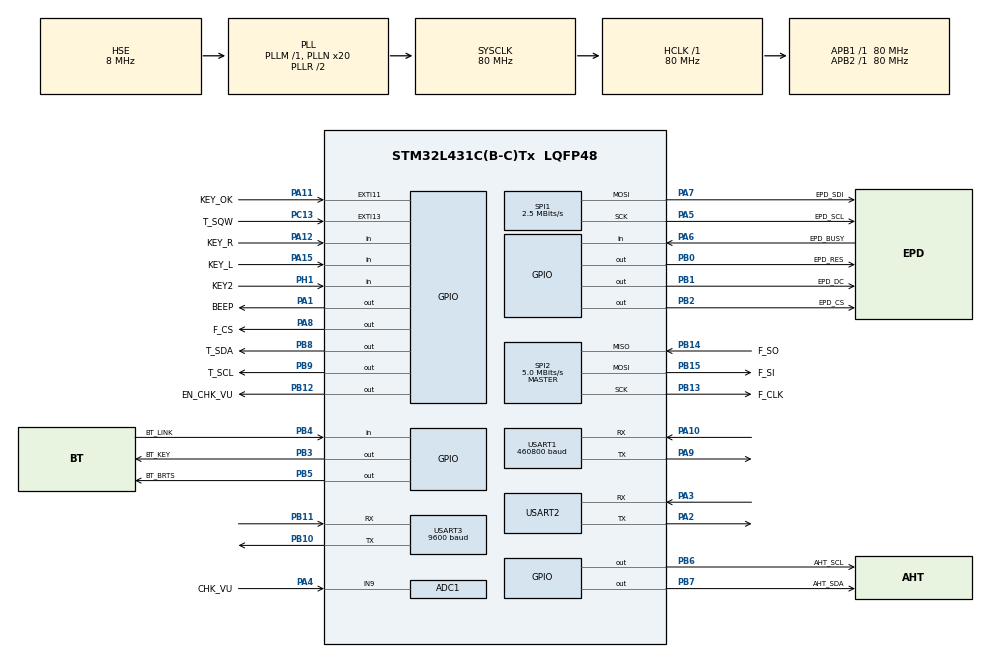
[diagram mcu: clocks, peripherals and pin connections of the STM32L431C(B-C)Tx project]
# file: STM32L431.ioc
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ADC1.Channel-1\#ChannelRegularConversion=ADC_CHANNEL_9
ADC1.NbrOfConversionFlag=1
ADC1.OffsetNumber-1\#ChannelRegularConversion=ADC_OFFSET_NONE
ADC1.Rank-1\#ChannelRegularConversion=1
ADC1.SamplingTime-1\#ChannelRegularConversion=ADC_SAMPLETIME_12CYCLES_5
ADC1.master=1
Dma.Request0=USART1_RX
Dma.Request1=USART1_TX
Dma.USART1_RX.0.Direction=DMA_PERIPH_TO_MEMORY
Dma.USART1_RX.0.Instance=DMA1_Channel5
Dma.USART1_RX.0.MemDataAlignment=DMA_MDATAALIGN_BYTE
Dma.USART1_RX.0.MemInc=DMA_MINC_ENABLE
Dma.USART1_RX.0.Mode=DMA_CIRCULAR
Dma.USART1_RX.0.PeriphDataAlignment=DMA_PDATAALIGN_BYTE
Dma.USART1_RX.0.PeriphInc=DMA_PINC_DISABLE
Dma.USART1_RX.0.Priority=DMA_PRIORITY_LOW
Dma.USART1_TX.1.Direction=DMA_MEMORY_TO_PERIPH
Dma.USART1_TX.1.Instance=DMA1_Channel4
Dma.USART1_TX.1.MemDataAlignment=DMA_MDATAALIGN_BYTE
Dma.USART1_TX.1.MemInc=DMA_MINC_ENABLE
Dma.USART1_TX.1.Mode=DMA_NORMAL
Dma.USART1_TX.1.PeriphDataAlignment=DMA_PDATAALIGN_BYTE
Dma.USART1_TX.1.PeriphInc=DMA_PINC_DISABLE
Dma.USART1_TX.1.Priority=DMA_PRIORITY_LOW
FREERTOS.Tasks01=defaultTask,0,128,StartDefaultTask,Default,NULL,Dynamic,NULL,NULL
FREERTOS.configMAX_PRIORITIES=16
FREERTOS.configTOTAL_HEAP_SIZE=15360
FREERTOS.configUSE_TICKLESS_IDLE=1
Mcu.Family=STM32L4
Mcu.Name=STM32L431C(B-C)Tx
Mcu.Package=LQFP48
NVIC.DMA1_Channel4_IRQn=true\:9\:0\:true\:false\:true\:true\:false\:true\:true
NVIC.DMA1_Channel5_IRQn=true\:9\:0\:true\:false\:true\:true\:false\:true\:true
NVIC.EXTI15_10_IRQn=true\:9\:0\:true\:false\:true\:true\:true\:true\:true
NVIC.PriorityGroup=NVIC_PRIORITYGROUP_4
NVIC.TIM1_UP_TIM16_IRQn=true\:15\:0\:false\:false\:true\:false\:false\:true\:true
NVIC.TimeBase=TIM1_UP_TIM16_IRQn
NVIC.TimeBaseIP=TIM1
NVIC.USART1_IRQn=true\:7\:0\:true\:false\:true\:true\:true\:true\:true
NVIC.USART2_IRQn=true\:7\:0\:true\:false\:true\:true\:true\:true\:true
PA0.GPIO_Label=KEY_WKUP
PA0.Mode=SYS_WakeUp0
PA0.Signal=SYS_WKUP1
PA1.GPIO_Label=BEEP
PA1.GPIO_ModeDefaultOutputPP=GPIO_MODE_OUTPUT_PP
PA1.GPIO_PuPd=GPIO_PULLUP
PA1.GPIO_Speed=GPIO_SPEED_FREQ_HIGH
PA1.PinState=GPIO_PIN_RESET
PA1.Signal=GPIO_Output
PA10.Mode=Asynchronous
PA10.Signal=USART1_RX
PA11.GPIO_Label=KEY_OK
PA11.GPIO_PuPd=GPIO_PULLUP
PA11.Signal=GPXTI11
PA12.GPIO_Label=KEY_R
PA12.GPIO_PuPd=GPIO_PULLUP
PA12.Signal=GPIO_Input
PA13\ (JTMS-SWDIO).Mode=Serial_Wire
PA13\ (JTMS-SWDIO).Signal=SYS_JTMS-SWDIO
PA14\ (JTCK-SWCLK).Mode=Serial_Wire
PA14\ (JTCK-SWCLK).Signal=SYS_JTCK-SWCLK
PA15\ (JTDI).GPIO_Label=KEY_L
PA15\ (JTDI).GPIO_PuPd=GPIO_PULLUP
PA15\ (JTDI).Signal=GPIO_Input
PA2.Mode=Asynchronous
PA2.Signal=USART2_TX
PA3.Mode=Asynchronous
PA3.Signal=USART2_RX
PA4.GPIO_Label=CHK_VU
PA4.Signal=ADCx_IN9
PA5.GPIO_Label=EPD_SCL
PA5.Mode=TX_Only_Simplex_Unidirect_Master
PA5.Signal=SPI1_SCK
PA6.GPIO_Label=EPD_BUSY
PA6.GPIO_PuPd=GPIO_PULLDOWN
PA6.Signal=GPIO_Input
PA7.GPIO_Label=EPD_SDI
PA7.Mode=TX_Only_Simplex_Unidirect_Master
PA7.Signal=SPI1_MOSI
PA8.GPIO_Label=F_CS
PA8.GPIO_Speed=GPIO_SPEED_FREQ_HIGH
PA8.Signal=GPIO_Output
PA9.Mode=Asynchronous
PA9.Signal=USART1_TX
PB0.GPIO_Label=EPD_RES
PB0.GPIO_Speed=GPIO_SPEED_FREQ_HIGH
PB0.PinState=GPIO_PIN_RESET
PB0.Signal=GPIO_Output
PB1.GPIO_Label=EPD_DC
PB1.GPIO_Speed=GPIO_SPEED_FREQ_HIGH
PB1.Signal=GPIO_Output
PB10.Mode=Asynchronous
PB10.Signal=USART3_TX
PB11.Mode=Asynchronous
PB11.Signal=USART3_RX
PB12.GPIO_Label=EN_CHK_VU
PB12.GPIO_Speed=GPIO_SPEED_FREQ_HIGH
PB12.Signal=GPIO_Output
PB13.GPIO_Label=F_CLK
PB13.Mode=Full_Duplex_Master
PB13.Signal=SPI2_SCK
PB14.GPIO_Label=F_SO
PB14.Mode=Full_Duplex_Master
PB14.Signal=SPI2_MISO
PB15.GPIO_Label=F_SI
PB15.Mode=Full_Duplex_Master
PB15.Signal=SPI2_MOSI
PB2.GPIO_Label=EPD_CS
PB2.GPIO_Speed=GPIO_SPEED_FREQ_HIGH
PB2.Signal=GPIO_Output
PB3\ (JTDO-TRACESWO).GPIO_Label=BT_KEY
PB3\ (JTDO-TRACESWO).GPIO_ModeDefaultOutputPP=GPIO_MODE_OUTPUT_PP
PB3\ (JTDO-TRACESWO).GPIO_PuPd=GPIO_PULLUP
PB3\ (JTDO-TRACESWO).GPIO_Speed=GPIO_SPEED_FREQ_LOW
PB3\ (JTDO-TRACESWO).PinState=GPIO_PIN_SET
PB3\ (JTDO-TRACESWO).Signal=GPIO_Output
PB4\ (NJTRST).GPIO_Label=BT_LINK
PB4\ (NJTRST).Signal=GPIO_Input
PB5.GPIO_Label=BT_BRTS
PB5.GPIO_PuPd=GPIO_PULLUP
PB5.GPIO_Speed=GPIO_SPEED_FREQ_LOW
PB5.PinState=GPIO_PIN_SET
PB5.Signal=GPIO_Output
PB6.GPIO_Label=AHT_SCL
PB6.GPIO_Speed=GPIO_SPEED_FREQ_HIGH
PB6.Signal=GPIO_Output
PB7.GPIO_Label=AHT_SDA
PB7.GPIO_Speed=GPIO_SPEED_FREQ_HIGH
PB7.Signal=GPIO_Output
PB8.GPIO_Label=T_SDA
PB8.GPIO_ModeDefaultOutputPP=GPIO_MODE_OUTPUT_OD
PB8.GPIO_PuPd=GPIO_PULLUP
PB8.GPIO_Speed=GPIO_SPEED_FREQ_HIGH
PB8.Signal=GPIO_Output
PB9.GPIO_Label=T_SCL
PB9.GPIO_ModeDefaultOutputPP=GPIO_MODE_OUTPUT_OD
PB9.GPIO_PuPd=GPIO_PULLUP
PB9.GPIO_Speed=GPIO_SPEED_FREQ_HIGH
PB9.Signal=GPIO_Output
PC13.GPIO_Label=T_SQW
PC13.GPIO_PuPd=GPIO_PULLUP
PC13.Signal=GPXTI13
PC14-OSC32_IN\ (PC14).Mode=LSE-External-Oscillator
PC14-OSC32_IN\ (PC14).Signal=RCC_OSC32_IN
PC15-OSC32_OUT\ (PC15).Mode=LSE-External-Oscillator
PC15-OSC32_OUT\ (PC15).Signal=RCC_OSC32_OUT
PH0-OSC_IN\ (PH0).Mode=HSE-External-Clock-Source
PH0-OSC_IN\ (PH0).Signal=RCC_OSC_IN
PH1-OSC_OUT\ (PH1).GPIO_Label=KEY2
PH1-OSC_OUT\ (PH1).Signal=GPIO_Input
ProjectManager.HeapSize=0x400
ProjectManager.StackSize=0x800
ProjectManager.TargetToolchain=MDK-ARM V5.32
RCC.ADCFreq_Value=80000000
RCC.AHBFreq_Value=80000000
RCC.APB1Freq_Value=80000000
RCC.APB1TimFreq_Value=80000000
RCC.APB2Freq_Value=80000000
RCC.APB2TimFreq_Value=80000000
RCC.CortexFreq_Value=80000000
RCC.HCLKFreq_Value=80000000
RCC.HSE_VALUE=8000000
RCC.HSI48_VALUE=48000000
RCC.HSI_VALUE=16000000
RCC.MSI_VALUE=4000000
RCC.PLLN=20
RCC.PLLSAI1N=20
RCC.PLLSourceVirtual=RCC_PLLSOURCE_HSE
RCC.SYSCLKFreq_VALUE=80000000
RCC.SYSCLKSource=RCC_SYSCLKSOURCE_PLLCLK
RCC.VCOOutputFreq_Value=160000000
SH.ADCx_IN9.0=ADC1_IN9,IN9-Single-Ended
SPI1.BaudRatePrescaler=SPI_BAUDRATEPRESCALER_32
SPI1.CalculateBaudRate=2.5 MBits/s
SPI1.DataSize=SPI_DATASIZE_8BIT
SPI1.Direction=SPI_DIRECTION_2LINES
SPI1.Mode=SPI_MODE_MASTER
SPI1.NSSPMode=SPI_NSS_PULSE_ENABLE
SPI1.VirtualType=VM_MASTER
SPI2.BaudRatePrescaler=SPI_BAUDRATEPRESCALER_16
SPI2.CLKPhase=SPI_PHASE_1EDGE
SPI2.CalculateBaudRate=5.0 MBits/s
SPI2.DataSize=SPI_DATASIZE_8BIT
SPI2.Direction=SPI_DIRECTION_2LINES
SPI2.Mode=SPI_MODE_MASTER
SPI2.VirtualType=VM_MASTER
USART1.BaudRate=460800
USART1.VirtualMode-Asynchronous=VM_ASYNC
USART2.VirtualMode-Asynchronous=VM_ASYNC
USART3.BaudRate=9600
USART3.VirtualMode-Asynchronous=VM_ASYNC
VP_FREERTOS_VS_CMSIS_V1.Mode=CMSIS_V1
VP_RTC_VS_RTC_Activate.Mode=RTC_Enabled
VP_SYS_VS_tim1.Mode=TIM1
board=custom

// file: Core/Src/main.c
/* USER CODE BEGIN Header */
/**
  ******************************************************************************
  * @file           : main.c
  * @brief          : Main program body
  ******************************************************************************
  * @attention
  *
  * Copyright (c) 2025 STMicroelectronics.
  * All rights reserved.
  *
  * This software is licensed under terms that can be found in the LICENSE file
  * in the root directory of this software component.
  * If no LICENSE file comes with this software, it is provided AS-IS.
  *
  ******************************************************************************
  */
/* USER CODE END Header */
#include "main.h"
#include "cmsis_os.h"
#include "adc.h"
#include "dma.h"
#include "rtc.h"
#include "spi.h"
#include "usart.h"
#include "gpio.h"

/* USER CODE BEGIN Includes */
#include "SystemInfo.h"
#include "pwr_from.h"
#include "ATcmd.h"
#include "aht20.h"
#include "ds3231.h"
#include "w25qxx.h"
#include "DEV_Config.h"
#include "EPD_Command.h"
#include "GUI_Paint.h"
#include "Button.h"
#include "test.h"
#include "gbkfont.h"
#include "calendar.h"
/* USER CODE END Includes */

/* USER CODE BEGIN PTD */
TaskHandle_t StartTask_Handler;
void start_task(void *pvParameters);

const unsigned char gImage_1[2850] = {
	0x00, 0x00, 0x67, 0xf7, 0xff, 0x3f, 0xf7, 0xf8, 0x00, 0x00, 0x00, 0x00, 0x00, 0x00, 0x00, 0x00,
	0x03, 0xff, 0x3c, 0x00, 0x00, 0x0f, 0xf3, 0xff, 0xbf, 0xf7, 0xf8, 0x00, 0x00, 0x00, 0x00, 0x00,
	0x00, 0x00, 0x00, 0x01, 0xff, 0x3c, 0x00, 0x00, 0x0f, 0xf9, 0xff, 0x9f, 0xf7, 0xf0, 0x3f, 0xce,
	0x00, 0x00, 0x00, 0x00, 0x00, 0x00, 0x01, 0xff, 0x3c, 0x00, 0x00, 0x0f, 0xfd, 0xff, 0x9f, 0xf7,
	0xf1, 0xfb, 0xfd, 0xe0, 0x00, 0x00, 0x00, 0x00, 0x80, 0x01, 0xff, 0x3c, 0x00, 0x00, 0x07, 0xfc,
	0xff, 0xcf, 0xf7, 0xf7, 0xff, 0xfe, 0x98, 0x00, 0x00, 0x00, 0x00, 0x80, 0x01, 0xff, 0xbc, 0x00,
	0x00, 0x03, 0xfe, 0x7f, 0xcf, 0xf7, 0xff, 0xff, 0xff, 0x40, 0x00, 0x00, 0x00, 0x00, 0x80, 0x01,
	0xff, 0x9c, 0x00, 0x00, 0x01, 0xff, 0x3f, 0xe7, 0xf7, 0xff, 0xde, 0xff, 0x70, 0x00, 0x00, 0x00,
	0x00, 0x00, 0x00, 0xff, 0x9c, 0x00, 0x00, 0x00, 0xff, 0xbf, 0xe7, 0xf7, 0xff, 0xbf, 0xff, 0xba,
	0x00, 0x00, 0x00, 0x00, 0x00, 0x00, 0xff, 0x80, 0x00, 0x00, 0x00, 0xff, 0x9f, 0xf0, 0x03, 0xff,
	0x7f, 0xff, 0xdf, 0x00, 0x00, 0x00, 0x00, 0x00, 0x00, 0xfc, 0x1c, 0x00, 0x00, 0x00, 0x7f, 0xcf,
	0xc0, 0x77, 0xfe, 0xff, 0xff, 0xff, 0x80, 0x00, 0x00, 0x00, 0x40, 0x00, 0xe1, 0x9c, 0x00, 0x00,
	0x00, 0xbf, 0xe7, 0x0b, 0xff, 0xff, 0xff, 0xff, 0xfe, 0xc0, 0x00, 0x00, 0x00, 0x40, 0x00, 0x8f,
	0xcc, 0x00, 0x00, 0x00, 0x5f, 0xf6, 0x39, 0xff, 0xff, 0xff, 0xff, 0xff, 0x60, 0x00, 0x00, 0x00,
	0x40, 0x00, 0x3f, 0xcc, 0x00, 0x00, 0x00, 0x0f, 0xf0, 0x79, 0xff, 0xff, 0xff, 0xff, 0xff, 0xe1,
	0x00, 0x00, 0x00, 0x00, 0x00, 0x7f, 0xc0, 0x00, 0x00, 0x00, 0x07, 0xf1, 0xfc, 0xff, 0xff, 0xff,
	0xff, 0xff, 0xb0, 0x00, 0x00, 0x00, 0x00, 0x00, 0x7e, 0x00, 0x00, 0x00, 0x00, 0x03, 0xe4, 0xfe,
	0xff, 0xff, 0xff, 0xff, 0xff, 0xf8, 0x40, 0x00, 0x00, 0x00, 0x00, 0x78, 0x00, 0x00, 0x00, 0x00,
	0x01, 0xe6, 0x7c, 0xff, 0xff, 0xff, 0xff, 0xff, 0xf8, 0x20, 0x00, 0x00, 0x00, 0x00, 0x40, 0x00,
	0x00, 0x00, 0x00, 0x00, 0xcf, 0x31, 0xff, 0xff, 0xff, 0xff, 0xff, 0xfc, 0x00, 0x00, 0x00, 0x20,
	0x00, 0x00, 0x00, 0x00, 0x00, 0x00, 0x00, 0x5f, 0x8f, 0xff, 0xff, 0xff, 0xff, 0xff, 0xfc, 0x00,
	0x00, 0x00, 0x00, 0x00, 0x00, 0x00, 0x00, 0x00, 0x00, 0x00, 0x3f, 0x3f, 0xff, 0xff, 0xff, 0xff,
	0xff, 0xfe, 0x00, 0x00, 0x00, 0x00, 0x00, 0x00, 0x00, 0x00, 0x00, 0x00, 0x00, 0x1e, 0x7f, 0xff,
	0xff, 0xff, 0xff, 0xff, 0xfe, 0x04, 0x00, 0x00, 0x00, 0x00, 0x00, 0x00, 0x00, 0x00, 0x00, 0x00,
	0x0c, 0xff, 0xff, 0xff, 0xff, 0xff, 0xff, 0xff, 0x00, 0x00, 0x00, 0x00, 0x00, 0x00, 0x00, 0x00,
	0x00, 0x00, 0x00, 0x00, 0xcf, 0xff, 0xff, 0xff, 0xff, 0xff, 0xff, 0x02, 0x00, 0x00, 0x00, 0x00,
	0x00, 0x00, 0x00, 0x00, 0x00, 0x00, 0x00, 0x0f, 0xff, 0xbf, 0xff, 0xff, 0xfe, 0xff, 0x80, 0x00,
	0x00, 0x00, 0x00, 0x00, 0x00, 0x00, 0x00, 0x00, 0x00, 0x00, 0x0e, 0xff, 0xff, 0xfb, 0xff, 0xfe,
	0xff, 0x81, 0x00, 0x00, 0x00, 0x00, 0x00, 0x20, 0x00, 0x00, 0x00, 0x00, 0x00, 0x1f, 0xff, 0xff,
	0xfb, 0xff, 0xfe, 0xff, 0xc0, 0x00, 0x00, 0x00, 0x00, 0x00, 0xe4, 0x00, 0x00, 0x00, 0x00, 0x00,
	0x1f, 0xff, 0xff, 0x73, 0xff, 0xfe, 0xff, 0xc0, 0x80, 0x00, 0x00, 0x00, 0x00, 0x1c, 0x00, 0x80,
	0x00, 0x00, 0x00, 0x1f, 0xff, 0xff, 0x73, 0xff, 0xfe, 0xfd, 0xe0, 0x00, 0x00, 0x00, 0x00, 0x00,
	0xf8, 0x00, 0x80, 0x00, 0x00, 0x00, 0x3f, 0xff, 0x7f, 0x73, 0xfd, 0xfe, 0xfd, 0xe0, 0x40, 0x00,
	0x00, 0x10, 0x00, 0x00, 0x00, 0x80, 0x00, 0x00, 0x00, 0x3f, 0xff, 0x7e, 0x65, 0xfd, 0xf6, 0x7f,
	0xe0, 0x40, 0x00, 0x00, 0x38, 0x00, 0x00, 0x00, 0x80, 0x00, 0x00, 0x00, 0x3f, 0xff, 0x7e, 0x67,
	0xfd, 0xf6, 0x7e, 0xf0, 0x20, 0x00, 0x00, 0xfc, 0x00, 0x00, 0x00, 0x80, 0x00, 0x00, 0x00, 0x3f,
	0xff, 0xfd, 0x01, 0xff, 0xfe, 0xef, 0xf0, 0x20, 0x00, 0x01, 0xec, 0x00, 0x00, 0x00, 0x80, 0x00,
	0x00, 0x00, 0x3f, 0xff, 0xe9, 0x7c, 0xff, 0xf8, 0x2f, 0xf0, 0x10, 0x00, 0x27, 0xba, 0x00, 0x00,
	0x00, 0x00, 0x00, 0x00, 0x00, 0x7f, 0xff, 0xe3, 0xce, 0xfe, 0xf1, 0x8e, 0xf0, 0x10, 0x00, 0x3f,
	0xfe, 0x00, 0x00, 0x00, 0x00, 0x00, 0x00, 0x00, 0x7d, 0xff, 0xdb, 0x9e, 0xdf, 0xf1, 0xc6, 0xd8,
	0x00, 0x00, 0x39, 0xff, 0x00, 0x00, 0x00, 0x00, 0x00, 0x00, 0x00, 0x7d, 0xff, 0xd7, 0x9f, 0x5e,
	0xe1, 0xc2, 0xd8, 0x08, 0x00, 0x3b, 0xf7, 0x00, 0x00, 0x00, 0x00, 0x00, 0x00, 0x00, 0x7d, 0xfe,
	0xc7, 0x9f, 0x5e, 0xe1, 0xc0, 0xd8, 0x08, 0x00, 0x3f, 0xfd, 0x80, 0x00, 0x00, 0x00, 0x00, 0x00,
	0x00, 0x7d, 0xfe, 0xce, 0x0f, 0x4f, 0x63, 0xea, 0xf8, 0x00, 0x00, 0x3f, 0xff, 0xc0, 0x00, 0x00,
	0x00, 0x00, 0x00, 0x00, 0x7d, 0xff, 0xd8, 0x03, 0x9f, 0x62, 0x7c, 0x78, 0x04, 0x00, 0x3f, 0xef,
	0xc0, 0x00, 0x00, 0x00, 0x00, 0x00, 0x00, 0x7f, 0xff, 0xc0, 0x01, 0xd7, 0x50, 0x04, 0x78, 0x00,
	0x00, 0x3f, 0xfa, 0xe0, 0x00, 0x00, 0x00, 0x00, 0x00, 0x00, 0xfe, 0xff, 0xc0, 0x0c, 0xdb, 0x50,
	0x06, 0x7c, 0x02, 0x00, 0x3f, 0xff, 0xe0, 0x00, 0x00, 0x00, 0x00, 0x00, 0x00, 0xfe, 0xff, 0xc0,
	0x07, 0xef, 0x28, 0x03, 0x78, 0x02, 0x00, 0x3f, 0xff, 0xc0, 0x00, 0x00, 0x00, 0x00, 0x00, 0x00,
	0xfe, 0xff, 0x80, 0x07, 0xed, 0xb0, 0x11, 0x7c, 0x00, 0x00, 0x3f, 0xff, 0xc0, 0x00, 0x00, 0x00,
	0x00, 0x00, 0x00, 0xfe, 0xff, 0xd0, 0x07, 0xfe, 0xf0, 0x08, 0x7c, 0x01, 0x00, 0x7f, 0xdf, 0xc0,
	0x00, 0x00, 0x00, 0x00, 0x00, 0x00, 0xfe, 0xfe, 0xf0, 0x0f, 0xff, 0x70, 0x08, 0xdc, 0x00, 0x00,
	0x7f, 0x5f, 0x80, 0x00, 0x00, 0x00, 0x00, 0x00, 0x01, 0xfe, 0x7e, 0xf8, 0x27, 0xff, 0xf0, 0x1b,
	0xd8, 0x00, 0x00, 0x7f, 0x9f, 0x80, 0x00, 0x00, 0x00, 0x00, 0x00, 0x01, 0xfe, 0x1c, 0x7a, 0xf7,
	0xff, 0xfe, 0x9a, 0xd8, 0x00, 0x80, 0x3f, 0xff, 0x00, 0x00, 0x00, 0x00, 0x00, 0x00, 0x03, 0xfe,
	0x08, 0xff, 0xe7, 0xff, 0xfb, 0xbe, 0xd0, 0x00, 0x00, 0x3f, 0xff, 0x00, 0x00, 0x00, 0x00, 0x00,
	0x00, 0x03, 0xfe, 0x43, 0x7e, 0x6f, 0xff, 0xfb, 0xbf, 0x30, 0x00, 0x00, 0x3f, 0xfe, 0x00, 0x00,
	0x00, 0x00, 0x00, 0x00, 0x03, 0xfe, 0x01, 0xff, 0xff, 0xff, 0xfe, 0x7c, 0x20, 0x00, 0x00, 0x3f,
	0xfe, 0x00, 0x00, 0x00, 0x00, 0x00, 0x00, 0x05, 0xfe, 0x0c, 0x6f, 0xff, 0xff, 0xff, 0xfc, 0x00,
	0x00, 0x00, 0xff, 0xfc, 0x00, 0x00, 0x00, 0x00, 0x00, 0x00, 0x05, 0xfe, 0x1f, 0x2f, 0xff, 0xff,
	0xff, 0xf8, 0x00, 0x00, 0x40, 0xff, 0xfc, 0x00, 0x00, 0x00, 0x00, 0x00, 0x00, 0x05, 0xfe, 0x3f,
	0xb3, 0xff, 0xff, 0xff, 0xf8, 0x20, 0x00, 0x21, 0xbf, 0xf8, 0x00, 0x00, 0x00, 0x00, 0x00, 0x00,
	0x05, 0xfe, 0x3f, 0x9d, 0xff, 0xff, 0xff, 0xf8, 0x12, 0x00, 0x03, 0xbf, 0xf8, 0x00, 0x00, 0x80,
	0x00, 0x00, 0x00, 0x00, 0xfe, 0x3f, 0x9b, 0xff, 0xe3, 0xff, 0xf8, 0x0b, 0x20, 0x03, 0x9f, 0xf0,
	0x00, 0x00, 0xf0, 0x00, 0x00, 0x00, 0x00, 0xfe, 0x0f, 0x0d, 0xff, 0x00, 0x7f, 0xf0, 0x03, 0x00,
	0x27, 0x9f, 0xf0, 0x00, 0x00, 0xfe, 0x00, 0x00, 0x00, 0x00, 0xfe, 0x02, 0x6a, 0xfe, 0x04, 0x1f,
	0xf0, 0x07, 0x90, 0x27, 0x9f, 0xf0, 0x00, 0x00, 0xff, 0xc0, 0x00, 0x00, 0x01, 0xfc, 0x30, 0x74,
	0x3f, 0x00, 0x3f, 0xf0, 0x03, 0x10, 0x17, 0xbf, 0xe0, 0x00, 0x04, 0xff, 0xf8, 0x00, 0x00, 0x01,
	0xfc, 0x18, 0x13, 0xff, 0x00, 0x3f, 0xf0, 0x01, 0x90, 0xb7, 0xbf, 0xe0, 0x04, 0x0c, 0xbf, 0xfe,
	0x00, 0x00, 0x03, 0xfc, 0x11, 0x87, 0xff, 0x80, 0x7f, 0xe0, 0x01, 0x98, 0x97, 0xbf, 0xe0, 0x00,
	0x18, 0x0f, 0xff, 0xc0, 0x00, 0x03, 0xfc, 0x03, 0xe4, 0xff, 0x80, 0x7f, 0xc0, 0x01, 0x88, 0x87,
	0xbf, 0xe0, 0x40, 0x18, 0x03, 0xff, 0xf8, 0x00, 0x03, 0xf8, 0x07, 0xf6, 0xff, 0xe1, 0xff, 0xc0,
	0x00, 0x0c, 0x8f, 0xbf, 0xe0, 0x40, 0x0c, 0x00, 0xff, 0xfe, 0x00, 0x03, 0xf8, 0x07, 0xf3, 0x7f,
	0xff, 0xff, 0x00, 0x80, 0x84, 0xc7, 0xbf, 0xe0, 0x20, 0x0c, 0x00, 0x3f, 0xff, 0xe0, 0x03, 0xf8,
	0x0f, 0xfb, 0x1f, 0xff, 0xfe, 0x03, 0xf8, 0xc6, 0xc7, 0xdf, 0xe0, 0x12, 0x0c, 0x00, 0x1f, 0xff,
	0x84, 0x02, 0xf8, 0x0f, 0xf9, 0x8f, 0xff, 0xf8, 0x0c, 0xfd, 0x46, 0x47, 0xdf, 0xe0, 0x02, 0x0c,
	0x00, 0x0f, 0xff, 0xf0, 0x87, 0xf8, 0x07, 0xf8, 0x83, 0xff, 0xe0, 0x1f, 0x7c, 0x43, 0x47, 0xdf,
	0xe0, 0x0a, 0x0c, 0x00, 0x07, 0xff, 0xe0, 0x01, 0xf8, 0x05, 0xe0, 0x80, 0xff, 0x80, 0x7f, 0xdc,
	0x43, 0x47, 0xdf, 0xe0, 0x04, 0x00, 0x00, 0x02, 0xff, 0xe0, 0x01, 0xd0, 0x02, 0xe0, 0x02, 0x1e,
	0x00, 0xff, 0xfc, 0x02, 0x87, 0xef, 0xe0, 0x0e, 0x70, 0x00, 0x01, 0xbf, 0xe0, 0x03, 0xd0, 0x00,
	0x60, 0x00, 0x00, 0x03, 0xff, 0xe8, 0x13, 0xf7, 0xff, 0xe0, 0x03, 0xe0, 0x00, 0x00, 0xff, 0xe0,
	0x03, 0xf0, 0x00, 0x40, 0x00, 0x00, 0x0b, 0xff, 0xe4, 0x31, 0xb7, 0xf7, 0xe0, 0x07, 0xc0, 0x00,
	0x00, 0xfb, 0xc0, 0x03, 0xf0, 0x00, 0x00, 0x00, 0x00, 0x17, 0xff, 0xc0, 0x64, 0xd7, 0xf7, 0xe0,
	0x03, 0x80, 0x00, 0x00, 0x7f, 0x60, 0x67, 0xf0, 0x00, 0x00, 0x05, 0x00, 0x27, 0xff, 0x81, 0xbc,
	0x67, 0xfb, 0xf0, 0x01, 0x00, 0x00, 0x00, 0x3f, 0x80, 0xe7, 0xf0, 0x00, 0x00, 0x44, 0x00, 0x5f,
	0xff, 0xa3, 0x80, 0x77, 0xfd, 0xb0, 0x02, 0x80, 0x00, 0x00, 0x1b, 0xc0, 0xe7, 0xf0, 0x00, 0x00,
	0x00, 0x00, 0x9f, 0xfe, 0x67, 0xff, 0x87, 0xfd, 0xd0, 0x01, 0x80, 0x00, 0x00, 0x0d, 0xc0, 0xf7,
	0xe0, 0x00, 0x00, 0x00, 0x00, 0xdf, 0xfe, 0xdf, 0xfe, 0x1f, 0xfe, 0xd0, 0x00, 0x00, 0x00, 0x00,
	0x06, 0x66, 0xff, 0xe0, 0x00, 0x04, 0x00, 0x00, 0xbf, 0xfc, 0xbf, 0xf8, 0xff, 0xff, 0xf0, 0x00,
	0x40, 0x00, 0x00, 0x07, 0x2e, 0xdb, 0xc0, 0x00, 0x08, 0x00, 0x03, 0xff, 0xf3, 0xbf, 0xf3, 0xfb,
	0xff, 0x50, 0x00, 0x80, 0x00, 0x00, 0x03, 0x9f, 0xef, 0xc0, 0x00, 0x00, 0x00, 0x1b, 0xff, 0xe7,
	0x7f, 0xcf, 0xfb, 0xff, 0x08, 0x00, 0x00, 0x00, 0x00, 0x01, 0xbf, 0xb1, 0x80, 0x00, 0x00, 0x1d,
	0x17, 0xff, 0xef, 0x6f, 0xff, 0xfb, 0xff, 0x80, 0x00, 0x40, 0x00, 0x00, 0x00, 0xff, 0xb3, 0x00,
	0x00, 0x00, 0x3f, 0xbf, 0xff, 0xfc, 0xff, 0xff, 0xfb, 0xff, 0xc0, 0x00, 0x40, 0x00, 0x00, 0x00,
	0xff, 0xf3, 0x00, 0x04, 0x26, 0x3e, 0xff, 0xff, 0x9b, 0xff, 0xff, 0xfb, 0xff, 0xc0, 0x00, 0x00,
	0x00, 0x00, 0x01, 0xf7, 0xb6, 0x00, 0x04, 0xcf, 0x7f, 0x5f, 0xff, 0x67, 0xff, 0xff, 0xfb, 0xff,
	0xe0, 0x00, 0x20, 0x00, 0x00, 0x01, 0xbe, 0xbe, 0x00, 0x0e, 0xcf, 0x7f, 0x3f, 0xfe, 0xcf, 0xff,
	0xff, 0xff, 0xff, 0xe0, 0x00, 0x00, 0x00, 0x00, 0x01, 0xdb, 0xbe, 0x00, 0x1f, 0x9f, 0x3f, 0xff,
	0x83, 0xdf, 0xff, 0xff, 0xff, 0xff, 0xf0, 0x00, 0x10, 0x00, 0x00, 0x01, 0xef, 0xbc, 0x00, 0x2f,
	0xbb, 0x7f, 0x7f, 0xff, 0x7f, 0xff, 0xff, 0xff, 0xff, 0xf0, 0x00, 0x10, 0x00, 0x00, 0x00, 0xf4,
	0xfc, 0x00, 0x3f, 0xfb, 0x7e, 0xff, 0xd1, 0xff, 0xff, 0xff, 0xff, 0xff, 0xf0, 0x00, 0x00, 0x00,
	0x00, 0x00, 0xff, 0xff, 0x00, 0x7f, 0xfb, 0x7f, 0xfd, 0xbf, 0xff, 0xff, 0xff, 0xfe, 0xff, 0xf8,
	0x00, 0x08, 0x00, 0x00, 0x00, 0xff, 0xfd, 0x80, 0x7f, 0xf3, 0x7d, 0xff, 0xff, 0xff, 0xff, 0xff,
	0xfe, 0xff, 0xfc, 0x00, 0x00, 0x00, 0x00, 0x00, 0xff, 0xfd, 0xc0, 0xff, 0xf7, 0xfb, 0xff, 0xff,
	0xff, 0xff, 0xff, 0xf6, 0xff, 0xfe, 0x00, 0x08, 0x00, 0x00, 0x00, 0xff, 0xfb, 0xc0, 0xeb, 0xe6,
	0xfb, 0xff, 0xff, 0xff, 0xff, 0xfb, 0xf6, 0x7f, 0xff, 0x00, 0x08, 0x00, 0x00, 0x00, 0x7e, 0xf7,
	0xe0, 0xff, 0xc5, 0xf7, 0xff, 0xdf, 0xff, 0xff, 0xf7, 0xf6, 0x7f, 0xff, 0x80, 0x08, 0x00, 0x00,
	0x00, 0x7e, 0xf7, 0xf1, 0xff, 0x8d, 0xef, 0xff, 0xff, 0xff, 0xff, 0xff, 0xf6, 0x7f, 0xff, 0x80,
	0x04, 0x00, 0x00, 0x01, 0xfe, 0xf7, 0xb3, 0xef, 0x8f, 0x6f, 0xff, 0xff, 0xff, 0xff, 0xef, 0xf6,
	0x77, 0xff, 0x80, 0x04, 0x00, 0x00, 0x03, 0xff, 0xf7, 0xdb, 0x7f, 0x2f, 0xdf, 0xff, 0xff, 0xff,
	0xdf, 0xd7, 0xf6, 0x3f, 0xff, 0xc0, 0x04, 0x00, 0x00, 0x07, 0xff, 0xe4, 0x2b, 0x7e, 0x5f, 0xdf,
	0xff, 0xff, 0xff, 0xdf, 0xff, 0xfa, 0x3f, 0xff, 0xc0, 0x04, 0x00, 0x00, 0x07, 0xff, 0xe0, 0x93,
	0x5c, 0xff, 0xbf, 0xff, 0xff, 0xff, 0xef, 0xed, 0xf9, 0x1f, 0xff, 0xc0, 0x04, 0x00, 0x00, 0x0f,
	0xff, 0xe0, 0x6b, 0xd9, 0xff, 0xff, 0xff, 0xff, 0xff, 0xe7, 0xfa, 0xfd, 0x0f, 0xff, 0xc0, 0x04,
	0x00, 0x00, 0x1f, 0xdf, 0xe0, 0xe1, 0xbb, 0xff, 0x7f, 0xff, 0xff, 0xff, 0xf2, 0xf0, 0x7f, 0x01,
	0xff, 0xc0, 0x04, 0x00, 0x00, 0x3f, 0xdf, 0xf0, 0xc1, 0xb7, 0xff, 0xff, 0xff, 0xff, 0xff, 0xf1,
	0x68, 0x3e, 0x80, 0xff, 0x80, 0x04, 0x00, 0x00, 0x3f, 0xdf, 0xf1, 0xc4, 0xef, 0xff, 0xff, 0xff,
	0xff, 0xff, 0xf8, 0x84, 0x1e, 0x40, 0x7f, 0x80, 0x04, 0x00, 0x00, 0x7f, 0xdf, 0xf1, 0xc0, 0x4f,
	0xff, 0xff, 0xff, 0xff, 0xff, 0xf8, 0x00, 0x0f, 0x00, 0x1f, 0x80, 0x04, 0x00, 0x00, 0x7f, 0xdf,
	0xf3, 0xc0, 0xdf, 0xfd, 0xff, 0xff, 0xff, 0xf0, 0xf8, 0x00, 0x07, 0x80, 0x0f, 0x80, 0x04, 0x00,
	0x00, 0x7f, 0xdf, 0xf3, 0xa1, 0x9f, 0xff, 0xff, 0xff, 0xff, 0xcd, 0x7c, 0x00, 0x03, 0xc0, 0x07,
	0x80, 0x0c, 0x00, 0x00, 0xff, 0x9f, 0xf3, 0x81, 0xbf, 0xff, 0xff, 0xff, 0xfd, 0x01, 0x38, 0x00,
	0x01, 0xe0, 0x03, 0x80, 0x0c, 0x00, 0x00, 0xff, 0x1f, 0xf7, 0x81, 0xbf, 0xff, 0xff, 0xef, 0xc7,
	0xf8, 0x20, 0x00, 0x00, 0x70, 0x00, 0x00, 0x0c, 0x00, 0x01, 0xde, 0x1f, 0xff, 0x81, 0x3f, 0xff,
	0xff, 0xe6, 0x03, 0xfc, 0x00, 0x00, 0x00, 0x10, 0x00, 0x00, 0x0c, 0x00, 0x01, 0xfe, 0x1f, 0xef,
	0x81, 0x3f, 0xf7, 0xff, 0x01, 0xf8, 0x1f, 0x00, 0x00, 0x00, 0x00, 0x00, 0x00, 0x18, 0x00, 0x01,
	0xfc, 0x1f, 0xef, 0xc1, 0x3f, 0xff, 0xfc, 0x1f, 0xff, 0xc1, 0x80, 0x00, 0x00, 0x00, 0x00, 0x00,
	0x14, 0x00, 0x03, 0xf8, 0x1f, 0xdf, 0xcb, 0x3f, 0xf7, 0xf8, 0xff, 0xff, 0xf0, 0x20, 0x00, 0x00,
	0x00, 0x00, 0x00, 0x2c, 0x00, 0x03, 0xb0, 0x0f, 0xbf, 0xc3, 0x2f, 0xff, 0x00, 0x7f, 0xff, 0xfc,
	0x00, 0x00, 0x00, 0x00, 0x00, 0x00, 0x3c, 0x00, 0x03, 0xb0, 0x0f, 0xbf, 0xc2, 0x1f, 0xfc, 0x1f,
	0xc3, 0xff, 0xfe, 0x00, 0x00, 0x00, 0x00, 0xe0, 0x00, 0x7c, 0x00, 0x03, 0xa0, 0x0f, 0x7f, 0x82,
	0x19, 0xe7, 0x3f, 0xff, 0xff, 0xfd, 0x00, 0x04, 0x00, 0x00, 0x7e, 0x5c, 0x1c, 0x00, 0x03, 0xa0,
	0x0e, 0xff, 0x82, 0x14, 0x1e, 0xff, 0xff, 0xff, 0xfc, 0x00, 0x00, 0x00, 0x00, 0x3f, 0x00, 0xec,
	0x00, 0x03, 0x80, 0x0a, 0xff, 0x02, 0x1e, 0x7d, 0xff, 0xff, 0xff, 0xd6, 0x00, 0x02, 0x00, 0x00,
	0x1f, 0x81, 0xec, 0x00, 0x03, 0x80, 0x09, 0xfb, 0x02, 0x04, 0xeb, 0xff, 0xff, 0xfe, 0xf0, 0x00,
	0x00, 0x00, 0x00, 0x1f, 0xc0, 0xf4, 0x00, 0x03, 0x80, 0x03, 0xfb, 0x23, 0x01, 0x97, 0xe0, 0x7f,
	0xf8, 0x7c, 0x00, 0x01, 0x00, 0x00, 0x0f, 0xc0, 0x78, 0x00, 0x03, 0x80, 0x07, 0xf7, 0x21, 0x03,
	0x6f, 0x9f, 0x0f, 0xf0, 0x00, 0x00, 0x00, 0x80, 0x00, 0x07, 0xe0, 0x7c, 0x00, 0x03, 0x80, 0x0f,
	0xf6, 0x20, 0x84, 0xef, 0x3f, 0xb4, 0x01, 0xff, 0xc0, 0x00, 0x00, 0x00, 0x07, 0xf0, 0x3c, 0x00,
	0x03, 0xc0, 0x1f, 0xe6, 0x00, 0x85, 0xfe, 0xf2, 0x51, 0xf0, 0x00, 0x01, 0x00, 0x40, 0x00, 0x03,
	0xf0, 0x3c, 0x00, 0x01, 0xc0, 0x1f, 0xc6, 0x00, 0x61, 0xf4, 0x03, 0xa3, 0x00, 0xa4, 0x00, 0x00,
	0x00, 0x00, 0x01, 0xf8, 0x1c, 0x00, 0x01, 0xe0, 0x3f, 0x00, 0x00, 0x03, 0xec, 0x04, 0x40, 0x0f,
	0xf0, 0x00, 0x00, 0xa0, 0x00, 0x00, 0xfc, 0x0c, 0x00, 0x01, 0xe0, 0x70, 0x00, 0x00, 0x00, 0x1c,
	0xcc, 0x80, 0xff, 0xd0, 0x00, 0x00, 0x80, 0x00, 0x00, 0xfc, 0x14, 0x00, 0x01, 0xb0, 0xe0, 0x00,
	0x00, 0x07, 0xbc, 0xb9, 0x01, 0xff, 0x70, 0x00, 0x00, 0x00, 0x00, 0x00, 0x7e, 0x1c, 0x00, 0x00,
	0xb1, 0x80, 0x00, 0x00, 0x7f, 0x3c, 0x04, 0x01, 0xff, 0xc0, 0x00, 0x00, 0x40, 0x00, 0x00, 0x3f,
	0x08, 0x00, 0x00, 0xb9, 0x00, 0x00, 0x01, 0x98, 0x14, 0xca, 0x01, 0xff, 0x80, 0x00, 0x00, 0x48,
	0x00, 0x00, 0x3f, 0x0c, 0x00, 0x00, 0x7e, 0x00, 0x00, 0x07, 0xc0, 0x96, 0x1a, 0x01, 0xff, 0xb0,
	0x00, 0x00, 0x40, 0x00, 0x00, 0x1f, 0x04, 0x00, 0x00, 0x7e, 0x00, 0x00, 0x08, 0xe1, 0x40, 0x02,
	0x01, 0xff, 0xe6, 0x00, 0x00, 0x04, 0x00, 0x00, 0x1f, 0x84, 0x00, 0x00, 0x5e, 0x04, 0x00, 0x02,
	0x42, 0x80, 0x00, 0x01, 0xff, 0x60, 0x00, 0x00, 0x44, 0x00, 0x00, 0x0f, 0x84, 0x00, 0x00, 0x57,
	0x02, 0x00, 0x08, 0x00, 0x00, 0x00, 0x03, 0xff, 0xe0, 0x00, 0x00, 0x00, 0x00, 0x00, 0x0f, 0xc0,
	0x00, 0x00, 0x6f, 0x00, 0x00, 0x04, 0x00, 0x01, 0x00, 0x03, 0xbe, 0x07, 0xfc, 0x00, 0x02, 0x00,
	0x00, 0x07, 0xc0, 0x00, 0x08, 0x33, 0xf8, 0x00, 0x00, 0x00, 0x03, 0x00, 0x03, 0xc0, 0x7f, 0xff,
	0x00, 0x00, 0x00, 0x00, 0x07, 0xe0, 0x00, 0x00, 0x7c, 0x00, 0x00, 0x00, 0x08, 0x03, 0x00, 0x06,
	0x0f, 0xff, 0xff, 0x00, 0x00, 0x00, 0x00, 0x03, 0xe0, 0x00, 0x00, 0x7f, 0xf0, 0x00, 0x00, 0x00,
	0x03, 0x22, 0x00, 0x3f, 0xff, 0xff, 0x80, 0x08, 0x00, 0x00, 0x03, 0xf0, 0x00, 0x00, 0xff, 0xfe,
	0x40, 0x04, 0x00, 0x07, 0xa0, 0x03, 0xdf, 0xff, 0xff, 0x80, 0x04, 0x00, 0x00, 0x01, 0xf0, 0x00,
	0x01, 0x7f, 0xfc, 0x00, 0x04, 0x00, 0x07, 0x80, 0x8f, 0xef, 0xff, 0xff, 0x80, 0x00, 0x40, 0x00,
	0x01, 0x10, 0x00, 0x01, 0xff, 0xfc, 0x00, 0x08, 0x00, 0x07, 0x92, 0x3f, 0xe7, 0xff, 0xfc, 0x00,
	0x00, 0x40, 0x00, 0x00, 0xf8, 0x00, 0x03, 0xff, 0xfc, 0x00, 0x08, 0x00, 0x47, 0x10, 0x7f, 0xf7,
	0xff, 0x80, 0x00, 0x00, 0x00, 0x00, 0x00, 0xb8, 0x70, 0x01, 0xff, 0xfa, 0x00, 0x00, 0x00, 0x04,
	0x60, 0x3f, 0xfb, 0xc0, 0x00, 0x00, 0x00, 0x00, 0x00, 0x00, 0x40, 0xe0, 0x03, 0xff, 0xe4, 0x00,
	0x10, 0x00, 0x83, 0xff, 0xbf, 0xf0, 0x1f, 0xff, 0x00, 0x00, 0x00, 0x00, 0x00, 0x40, 0xe0, 0x07,
	0xff, 0xe9, 0x00, 0x10, 0x00, 0x47, 0xff, 0xf7, 0x87, 0xff, 0xfc, 0x40, 0x00, 0x00, 0x00, 0x00,
	0x00, 0xa0, 0x07, 0xff, 0xd2, 0x00, 0x00, 0x00, 0x06, 0xff, 0xfc, 0x1f, 0xff, 0xb9, 0xf0, 0x00,
	0x00, 0x00, 0x00, 0x20, 0xc0, 0x0f, 0xff, 0xf4, 0x00, 0x20, 0x00, 0x05, 0xff, 0xff, 0x9f, 0xbf,
	0xff, 0xf8, 0x00, 0x00, 0x00, 0x00, 0x00, 0xc0, 0x0f, 0xff, 0xb4, 0x00, 0x20, 0x00, 0x03, 0xff,
	0xff, 0xe3, 0xff, 0xff, 0xfc, 0x00, 0x00, 0x00, 0x00, 0x10, 0xc0, 0x1f, 0xff, 0x60, 0x00, 0x00,
	0x00, 0x3b, 0xff, 0xff, 0xfe, 0x7f, 0xff, 0xff, 0x80, 0x00, 0x00, 0x00, 0x08, 0x80, 0x1f, 0xff,
	0x60, 0x00, 0x40, 0x03, 0xff, 0xff, 0xff, 0xff, 0x8f, 0xff, 0xff, 0xc0, 0x00, 0x00, 0x00, 0x08,
	0x80, 0x1f, 0xfe, 0xc0, 0x00, 0x40, 0x0f, 0xf7, 0xff, 0xff, 0xff, 0xf3, 0xff, 0xff, 0xf0, 0x00,
	0x00, 0x00, 0x04, 0x00, 0x3f, 0xfe, 0xa0, 0x00, 0x00, 0x3f, 0xd7, 0xff, 0xff, 0xff, 0xfc, 0xff,
	0xff, 0xf8, 0x00, 0x08, 0x00, 0x04, 0x00, 0x3f, 0xfc, 0x80, 0x00, 0x80, 0x7e, 0xff, 0xff, 0xff,
	0xff, 0xff, 0x7f, 0xff, 0xf8, 0x00, 0x00, 0x00, 0x04, 0x0f, 0xff, 0xfd, 0x00, 0x00, 0x80, 0xf7,
	0xff, 0xff, 0xff, 0xff, 0xff, 0x9f, 0xff, 0xfc, 0x00, 0x00, 0x00, 0x00, 0x0f, 0xff, 0xfc, 0x00,
	0x00, 0x81, 0xef, 0xff, 0xff, 0xff, 0xfd, 0xff, 0xef, 0xff, 0xff, 0x00, 0x00, 0x03, 0x00, 0x0f,
	0xff, 0xfa, 0x00, 0x00, 0x03, 0xbf, 0xff, 0xff, 0xff, 0xfe, 0xff, 0xf3, 0xff, 0xff, 0x80, 0x01,
	0x03, 0x00
};

/* USER CODE END PTD */

void SystemClock_Config(void);
void MX_FREERTOS_Init(void);

int main(void)
{

  /* MCU Configuration--------------------------------------------------------*/

  /* Reset of all peripherals, Initializes the Flash interface and the Systick. */
  HAL_Init();

  /* Configure the system clock */
  SystemClock_Config();

  /* Initialize all configured peripherals */
  MX_GPIO_Init();
  MX_DMA_Init();
  MX_ADC1_Init();
  MX_SPI1_Init();
  MX_SPI2_Init();
  MX_USART1_UART_Init();
  MX_USART2_UART_Init();
  MX_USART3_UART_Init();
  MX_RTC_Init();
  /* USER CODE BEGIN 2 */
	DWT_Init();
	AHT20_Init();
	W25QXX_Init();
	DS3231_Init();
	DS3231_SetSQW(SQW_1HZ);
//	AlarmConfig config = {
//			.seconds = 0,
//			.minutes = 0x7F,
//			.hours = 0x7F,
//			.day_or_date = 0x7F,
//			.mode = ALARM_MATCH_SECOND
//	};
//	DS3231_SetAlarm1(&config);
//	DS3231_ClearAlarmFlag();
	HAL_GPIO_WritePin(BT_LINK_GPIO_Port,BT_BRTS_Pin,GPIO_PIN_RESET);
	vTaskDelay(500);
	HAL_GPIO_WritePin(BT_LINK_GPIO_Port,BT_BRTS_Pin,GPIO_PIN_SET);
	vTaskDelay(2000);
	HAL_GPIO_WritePin(BT_KEY_GPIO_Port,BT_KEY_Pin,GPIO_PIN_RESET);
	vTaskDelay(500);
	HAL_GPIO_WritePin(BT_KEY_GPIO_Port,BT_KEY_Pin,GPIO_PIN_SET);
	vTaskDelay(500);
	uint8_t char1[] = {"AT+POWE0\r"};
	uint8_t char2[] = {"AT+PWRM2\r"};
	HAL_UART_Transmit(&huart1,char1,sizeof(char1),0xffff);
	vTaskDelay(500);
	HAL_UART_Transmit(&huart1,char2,sizeof(char2),0xffff);
	DEV_Module_Init();
	EPD_4IN2_V2_Init();
	EPD_4IN2_V2_Clear();
	rtcAlarmASemaphore = xSemaphoreCreateBinary();

  /* USER CODE END 2 */

  /* Call init function for freertos objects (in freertos.c) */
  MX_FREERTOS_Init();

  /* Start scheduler */
//  osKernelStart();
  /* We should never get here as control is now taken by the scheduler */
  /* Infinite loop */
  /* USER CODE BEGIN WHILE */
    xTaskCreate((TaskFunction_t )start_task,
                (const char*    )"start_task",
                (uint16_t       )128,
                (void*          )NULL,
                (UBaseType_t    )1,
                (TaskHandle_t*  )&StartTask_Handler);
    osKernelStart();
  while (1)
  {
    /* USER CODE END WHILE */

  }
}

void SystemClock_Config(void)
{
  RCC_OscInitTypeDef RCC_OscInitStruct = {0};
  RCC_ClkInitTypeDef RCC_ClkInitStruct = {0};

  /** Configure the main internal regulator output voltage
  */
  if (HAL_PWREx_ControlVoltageScaling(PWR_REGULATOR_VOLTAGE_SCALE1) != HAL_OK)
  {
    Error_Handler();
  }

  /** Initializes the RCC Oscillators according to the specified parameters
  * in the RCC_OscInitTypeDef structure.
  */
  RCC_OscInitStruct.OscillatorType = RCC_OSCILLATORTYPE_LSI|RCC_OSCILLATORTYPE_HSE;
  RCC_OscInitStruct.HSEState = RCC_HSE_BYPASS;
  RCC_OscInitStruct.LSIState = RCC_LSI_ON;
  RCC_OscInitStruct.PLL.PLLState = RCC_PLL_ON;
  RCC_OscInitStruct.PLL.PLLSource = RCC_PLLSOURCE_HSE;
  RCC_OscInitStruct.PLL.PLLM = 1;
  RCC_OscInitStruct.PLL.PLLN = 20;
  RCC_OscInitStruct.PLL.PLLP = RCC_PLLP_DIV7;
  RCC_OscInitStruct.PLL.PLLQ = RCC_PLLQ_DIV2;
  RCC_OscInitStruct.PLL.PLLR = RCC_PLLR_DIV2;
  if (HAL_RCC_OscConfig(&RCC_OscInitStruct) != HAL_OK)
  {
    Error_Handler();
  }

  /** Initializes the CPU, AHB and APB buses clocks
  */
  RCC_ClkInitStruct.ClockType = RCC_CLOCKTYPE_HCLK|RCC_CLOCKTYPE_SYSCLK
                              |RCC_CLOCKTYPE_PCLK1|RCC_CLOCKTYPE_PCLK2;
  RCC_ClkInitStruct.SYSCLKSource = RCC_SYSCLKSOURCE_PLLCLK;
  RCC_ClkInitStruct.AHBCLKDivider = RCC_SYSCLK_DIV1;
  RCC_ClkInitStruct.APB1CLKDivider = RCC_HCLK_DIV1;
  RCC_ClkInitStruct.APB2CLKDivider = RCC_HCLK_DIV1;

  if (HAL_RCC_ClockConfig(&RCC_ClkInitStruct, FLASH_LATENCY_4) != HAL_OK)
  {
    Error_Handler();
  }
}

/* USER CODE BEGIN 4 */
void test(void *pvParameters);

void start_task(void *pvParameters)
{
    taskENTER_CRITICAL();
    xTaskCreate((TaskFunction_t )RTC_AlarmATask,
                (const char*    )"RTC_WakeupTask",
                (uint16_t       )512,
                (void*          )NULL,
                (UBaseType_t    )2,
                (TaskHandle_t*  )&RTC_AlarmATask_Handle);

		xTaskCreate((TaskFunction_t )test,
                (const char*    )"test",
                (uint16_t       )256,
                (void*          )NULL,
                (UBaseType_t    )2,
                (TaskHandle_t*  )NULL);
				taskEXIT_CRITICAL();
				vTaskDelete(StartTask_Handler);
}

void test(void *pvParameters)
{
		taskENTER_CRITICAL();
		Paint_NewImage((uint8_t*)gImage_1,150,150, 0, EPD_WHITE);
		Paint_SelectImage((uint8_t*)gImage_1);
		Paint_Clear(EPD_WHITE);
		Paint_DrawBitMap(gImage_1);
		EPD_4IN2_V2_PartialDisplay((uint8_t*)gImage_1,249,129,400,280);
		taskEXIT_CRITICAL();
	while(1)
	{
		ButtonTask();
	}
}

/* USER CODE END 4 */

void HAL_TIM_PeriodElapsedCallback(TIM_HandleTypeDef *htim)
{
  if (htim->Instance == TIM1) {
    HAL_IncTick();
  }
}

void Error_Handler(void)
{
  __disable_irq();
  while (1)
  {
  }
}

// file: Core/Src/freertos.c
/* USER CODE BEGIN Header */
/**
  ******************************************************************************
  * File Name          : freertos.c
  * Description        : Code for freertos applications
  ******************************************************************************
  * @attention
  *
  * Copyright (c) 2025 STMicroelectronics.
  * All rights reserved.
  *
  * This software is licensed under terms that can be found in the LICENSE file
  * in the root directory of this software component.
  * If no LICENSE file comes with this software, it is provided AS-IS.
  *
  ******************************************************************************
  */
/* USER CODE END Header */

#include "FreeRTOS.h"
#include "task.h"
#include "main.h"
#include "cmsis_os.h"

osThreadId defaultTaskHandle;

void StartDefaultTask(void const * argument);

void MX_FREERTOS_Init(void); /* (MISRA C 2004 rule 8.1) */

/* GetIdleTaskMemory prototype (linked to static allocation support) */
void vApplicationGetIdleTaskMemory( StaticTask_t **ppxIdleTaskTCBBuffer, StackType_t **ppxIdleTaskStackBuffer, uint32_t *pulIdleTaskStackSize );

/* USER CODE BEGIN PREPOSTSLEEP */
__weak void PreSleepProcessing(uint32_t ulExpectedIdleTime)
{
/* place for user code */
}

__weak void PostSleepProcessing(uint32_t ulExpectedIdleTime)
{
/* place for user code */
}
/* USER CODE END PREPOSTSLEEP */

/* USER CODE BEGIN GET_IDLE_TASK_MEMORY */
static StaticTask_t xIdleTaskTCBBuffer;
static StackType_t xIdleStack[configMINIMAL_STACK_SIZE];

void vApplicationGetIdleTaskMemory( StaticTask_t **ppxIdleTaskTCBBuffer, StackType_t **ppxIdleTaskStackBuffer, uint32_t *pulIdleTaskStackSize )
{
  *ppxIdleTaskTCBBuffer = &xIdleTaskTCBBuffer;
  *ppxIdleTaskStackBuffer = &xIdleStack[0];
  *pulIdleTaskStackSize = configMINIMAL_STACK_SIZE;
  /* place for user code */
}
/* USER CODE END GET_IDLE_TASK_MEMORY */

void MX_FREERTOS_Init(void) {

  /* Create the thread(s) */
  /* definition and creation of defaultTask */
  osThreadDef(defaultTask, StartDefaultTask, osPriorityNormal, 0, 128);
  defaultTaskHandle = osThreadCreate(osThread(defaultTask), NULL);

}

void StartDefaultTask(void const * argument)
{
  for(;;)
  {
    osDelay(1);
  }
}
